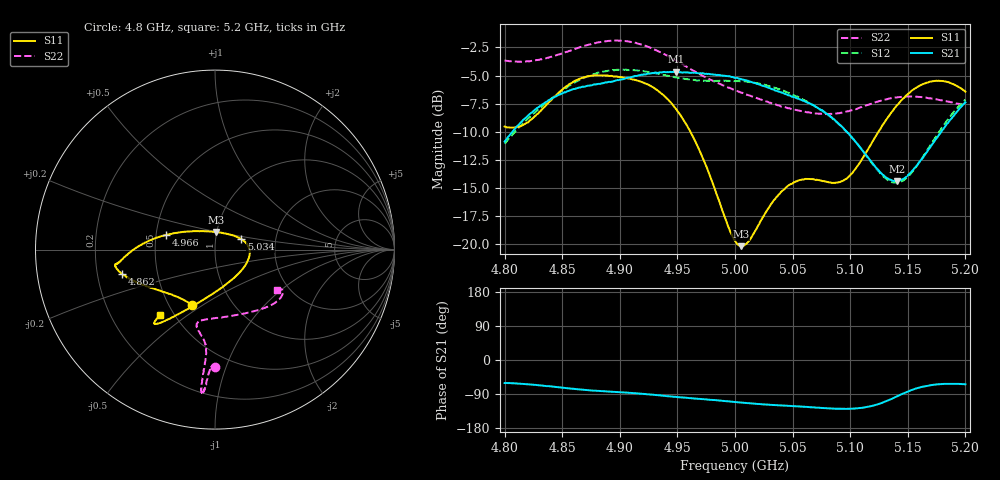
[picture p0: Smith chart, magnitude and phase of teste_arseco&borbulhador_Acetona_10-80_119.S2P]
! Network Analyzer HP8722D
! Hewlett-Packard
! Data name: Linha & Wilkinson
! Saver's name: Rodrigo Anjos
! Comments: Teste da utilização de aquisição
! continua pelo VNA HP8722D
! Time and date: 17/4/2025 15:21
!  Frequency  S11  S21  S12  S22
# HZ  S  MA R 50
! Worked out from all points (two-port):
!   401 points, 4.8 GHz to 5.2 GHz, reference 50 ohm
!   highest |S21| = -4.67 dB at 4.949 GHz (marker M1); lowest = -14.4 dB at 5.141 GHz (marker M2)
!   |S21| within 3 dB of the highest: 4.832 GHz to 5.068 GHz (237 MHz wide, 4.79 % of centre); 5.197412 GHz to end of sweep
!   lowest |S11| = -20.2 dB at 5.005 GHz (marker M3), VSWR 1.22, Z = 49.7 + j9.8 ohm
!   |S11| at or under -10 dB: 4.961 GHz to 5.125 GHz (163.3 MHz wide, 3.24 % of centre)
!   |S22| runs from -8.4 to -1.9 dB; largest |S21 - S12| = 0.87
!   S11 on the Smith chart (normalised r, x): 4.8 GHz: 0.65, -0.45; 4.862 GHz: 0.31, -0.12; 4.966 GHz: 0.57, +0.10; 5.034 GHz: 1.33, +0.16; 5.2 GHz: 0.42, -0.40
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4.8e9  0.3335 -113.0  0.2854 -60.7  0.2795 -174.8  0.6567 -89.9
4.819e9  0.346 -132.9  0.3673 -63.9  0.3561 -173.2  0.6502 -91.4
4.84e9  0.4348 -152.3  0.4409 -69.7  0.4414 -173.7  0.6809 -92.7
4.862e9  0.5348 -165.4  0.4926 -76.9  0.5271 -176.6  0.7409 -93.7
4.867e9  0.5486 -167.3  0.5005 -78.2  0.542 -177.4  0.7553 -93.8
4.9e9  0.5536 -171.9  0.5388 -85.0  0.5966 175.9  0.8033 -95.2
4.934e9  0.4776 -177.9  0.5794 -93.3  0.5721 172.0  0.7182 -95.6
4.949e9  0.3976 175.0  0.5844 -97.3  0.552 172.3  0.6541 -95.2
4.966e9  0.2829 163.2  0.5778 -101.8  0.5353 173.9  0.5822 -94.8
5e9  0.1035 103.3  0.5484 -110.9  0.5321 176.4  0.4844 -99.0
5.005e9  0.09783 86.0  0.5425 -112.2  0.5296 176.4  0.4717 -100.2
5.012e9  0.1031 63.1  0.5309 -113.9  0.5262 176.1  0.4594 -101.7
5.034e9  0.1572 22.1  0.4852 -118.9  0.4969 175.0  0.4195 -103.5
5.049e9  0.1849 6.6  0.4538 -121.4  0.4652 174.4  0.399 -100.1
5.067e9  0.1946 -12.5  0.4163 -124.7  0.4181 173.9  0.382 -91.1
5.087e9  0.1871 -44.5  0.3545 -128.7  0.354 173.8  0.3809 -75.8
5.098e9  0.198 -67.3  0.3121 -128.6  0.312 174.7  0.3899 -66.7
5.134e9  0.3738 -115.8  0.1938 -105.2  0.1908 -158.2  0.444 -42.9
5.141e9  0.4162 -119.8  0.1905 -95.4  0.1875 -147.1  0.4501 -39.9
5.153e9  0.4797 -124.8  0.2093 -79.7  0.207 -128.8  0.4535 -35.7
5.171e9  0.5299 -128.6  0.2768 -66.0  0.2825 -111.9  0.4438 -31.5
5.2e9  0.4765 -130.2  0.4271 -64.1  0.4391 -106.2  0.4148 -33.1
